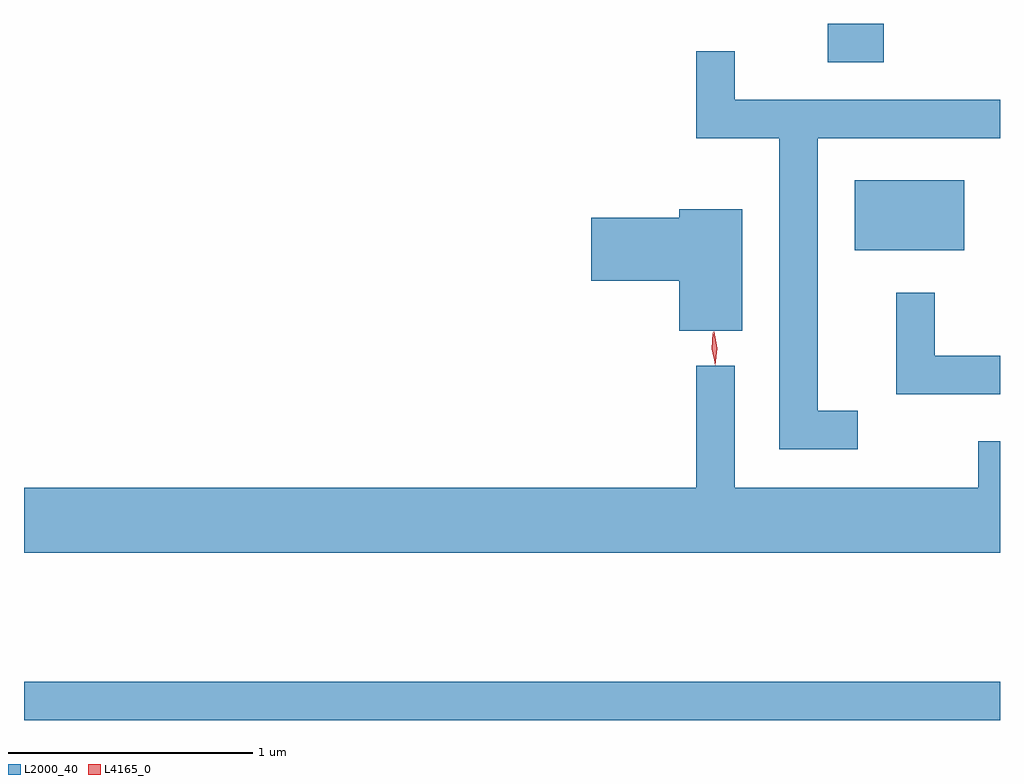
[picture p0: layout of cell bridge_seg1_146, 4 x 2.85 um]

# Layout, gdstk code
import gdstk
lib = gdstk.Library(unit=1e-6, precision=1e-09)
def R(c, l, rs):  # rectangles x0, y0, x1, y1
    for r in rs: c.add(gdstk.rectangle(r[:2], r[2:], *l))
def P(c, l, *ps):  # polygons
    for p in ps: c.add(gdstk.Polygon(p, *l))
L2000_40 = (2000, 40)
L4165_0 = (4165, 0)

bridge_seg1_146 = lib.new_cell('bridge_seg1_146')
R(bridge_seg1_146, L2000_40, [(908.571,923.311,912.571,923.469), (911.976,925.236,912.424,925.524), (911.866,926.006,912.094,926.164)])
P(bridge_seg1_146, L2000_40, [(911.988,924.579),(911.824,924.579),(911.824,925.696),(912.571,925.696),(912.571,925.854),(911.484,925.854),(911.484,926.053),(911.326,926.053),(911.326,925.696),(911.666,925.696),(911.666,924.421),(911.988,924.421)],
  [(911.514,925.404),(911.256,925.404),(911.256,925.369),(910.896,925.369),(910.896,925.111),(911.256,925.111),(911.256,924.906),(911.514,924.906)],
  [(912.571,924.804),(912.304,924.804),(912.304,925.063),(912.146,925.063),(912.146,924.646),(912.571,924.646)],
  [(912.571,924.454),(912.481,924.454),(912.481,924.264),(911.484,924.264),(911.484,924.763),(911.326,924.763),(911.326,924.264),(908.571,924.264),(908.571,923.996),(912.571,923.996)])
P(bridge_seg1_146, L4165_0, [(911.404,924.765),(911.404,924.765),(911.392,924.833),(911.398,924.902),(911.399,924.902),(911.399,924.902),(911.412,924.834),(911.405,924.765)],
  [(911.404,924.768),(911.404,924.769),(911.389,924.833),(911.393,924.898),(911.394,924.899),(911.394,924.898),(911.409,924.834),(911.405,924.769)])

lib.write_gds('bridge_seg1_146.gds')
